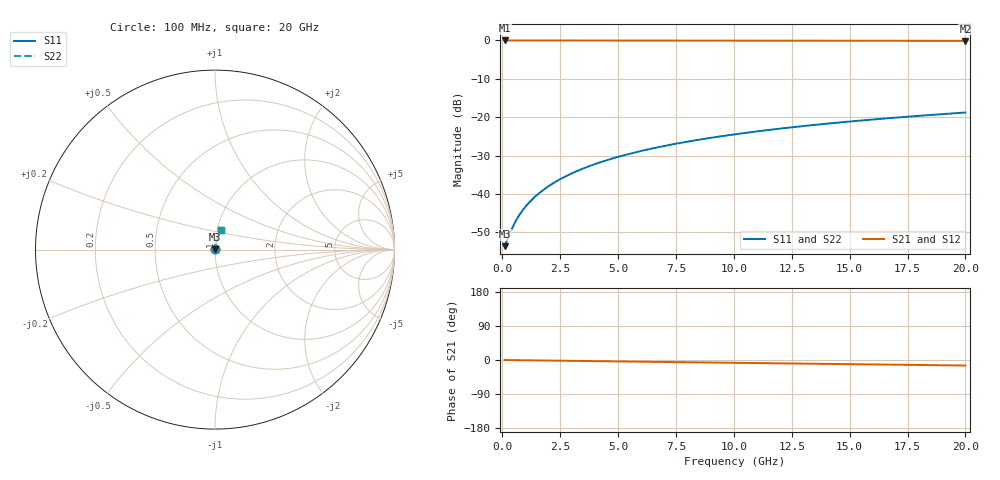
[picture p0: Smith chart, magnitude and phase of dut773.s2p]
! Touchstone file exported from HFSS 2026.1.0
!  File:  C:/ffzhzh/LocalFiles/Ansys_Project_Files/temp_train_BSMRDL_773_1783169222_22436.aedt
!  Generated:  08:48:15 PM Jul  4, 2026
!  Design:  BSMRDL
!  Project:  temp_train_BSMRDL_773_1783169222_22436
! Variables:
!  h_bsmrdl = 2.73um
!  h_ox = 20um
!  h_rdl = 5um
!  h_sub = 80um
!  h_tmrdl = 5um
!  h_tsv = 80um
!  h_via = 3um
!  l_bsmrdl = 214.9um
!  l_sub = 614.9um
!  l_tmrdl = 200um
!  m_sub = 200um
!  pitch = 27.37um
!  r_tsv = 6um
!  s_tmrdl = 10um
!  w_bsmrdl = 16.21um
!  w_sub = 500um
!  w_tmrdl = 12um
!  x_tsv_center1 = 206um
!  x_tsv_center2 = 437.11um
!  x_tsv_center3 = 649.11um
!  x_tsv_center4 = 880.22um
!  x_tsv_center5 = 1092.22um
!  x_tsv_center6 = 1323.33um
# GHz S MA R 50.000000
! Terminal data exported
! Port[1] = BSM_RDL1_1_T1
! Port[2] = BSM_RDL1_1_T2
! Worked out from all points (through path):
!   200 points, 100 MHz to 20 GHz, reference 50 ohm
!   highest |S21| = -0.02 dB at 100 MHz (marker M1); lowest = -0.1 dB at 20 GHz (marker M2)
!   group delay of S21, straight-line fit = 2.02 ps
!   lowest |S11| = -53.6 dB at 100 MHz (marker M3), VSWR 1.00, Z = 50.2 + j0.0717 ohm
!   |S11| at or under -10 dB: start of sweep to end of sweep
!   |S22| runs from -53.6 to -18.8 dB; largest |S21 - S12| = 3.2e-15
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0.1  0.002096 19.9  0.998 -0.1  0.998 -0.1  0.002096 19.9
! Gamma 0 0 0 0
! Port Impedance 50 0 50 0
0.4  0.003467 51.4  0.9978 -0.3  0.9978 -0.3  0.003468 51.4
0.5  0.004011 56.2  0.9978 -0.4  0.9978 -0.4  0.004012 56.2
0.6  0.004567 59.9  0.9977 -0.5  0.9977 -0.5  0.004567 59.9
0.7  0.00513 62.7  0.9976 -0.5  0.9976 -0.5  0.00513 62.7
0.9  0.006267 66.9  0.9975 -0.7  0.9975 -0.7  0.006267 66.9
1.1  0.007414 69.8  0.9975 -0.8  0.9975 -0.8  0.007414 69.8
1.3  0.00857 72.0  0.9974 -1.0  0.9974 -1.0  0.008569 72.0
1.7  0.0109 74.9  0.9973 -1.3  0.9973 -1.3  0.0109 74.9
2.2  0.01384 77.1  0.9972 -1.7  0.9972 -1.7  0.01384 77.1
2.8  0.01739 78.7  0.9971 -2.1  0.9971 -2.1  0.01739 78.7
3.5  0.02155 79.6  0.9969 -2.6  0.9969 -2.6  0.02155 79.6
4.2  0.02571 80.1  0.9967 -3.1  0.9967 -3.1  0.02571 80.1
5  0.03046 80.3  0.9964 -3.7  0.9964 -3.7  0.03046 80.3
5.9  0.03579 80.2  0.996 -4.4  0.996 -4.4  0.03579 80.2
6.8  0.04109 80.0  0.9956 -5.1  0.9956 -5.1  0.04109 80.0
8.3  0.04985 79.3  0.9948 -6.2  0.9948 -6.2  0.04985 79.3
10.1  0.06025 78.3  0.9938 -7.5  0.9938 -7.5  0.06025 78.3
11.7  0.06937 77.4  0.9928 -8.6  0.9928 -8.6  0.06937 77.4
13.4  0.07894 76.3  0.9916 -9.9  0.9916 -9.9  0.07894 76.3
16.7  0.0972 74.2  0.9893 -12.2  0.9893 -12.2  0.0972 74.2
20  0.1151 72.1  0.9867 -14.6  0.9867 -14.6  0.1151 72.1
